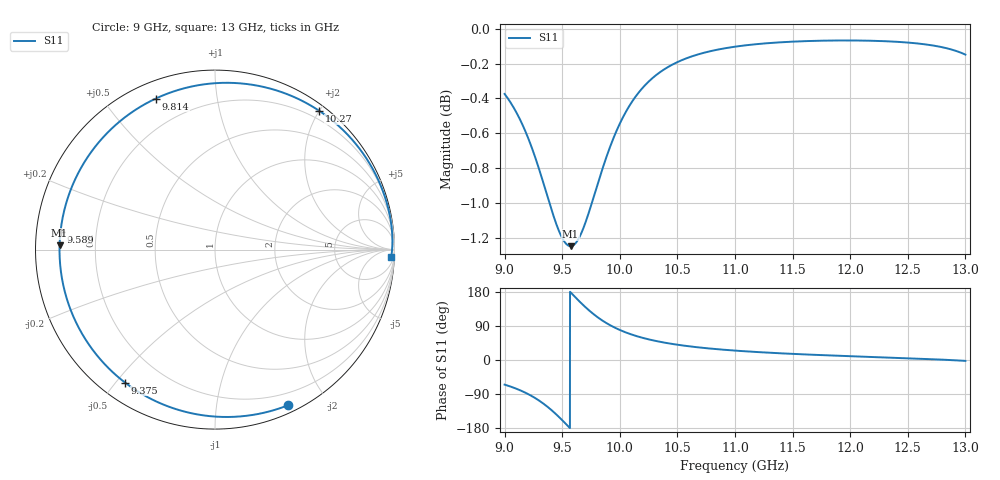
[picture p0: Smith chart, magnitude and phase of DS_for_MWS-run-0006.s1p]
! TOUCHSTONE file generated by CST DESIGN STUDIO
! Date and time: Wed Feb  5 13:45:13 2025
! Project name: C:\Work\MatlabApps\UnitCellOptimizationMatlab\CST\unitcell.cst
! Tree item: Tasks\Sweep1\SPara1\S-Parameters
! Header version: 2024
! Port assignment regex: !\s*Touchstone port\s*([0-9]+)\s*=\s*(CST MWS port|CST DES external port|CST DES block port)\s*(.+)\s* \(\"(.*)\"\)(\s*mode\s*([0-9]+))?.*
! Touchstone port assignment:
! Touchstone port 1 = CST DES external port 1 ("")
# GHz S MA R 50
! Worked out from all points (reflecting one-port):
!   4001 points, 9 GHz to 13 GHz, reference 50 ohm
!   lowest |S11| = -1.2 dB at 9.573 GHz (marker M1), VSWR 13.96, Z = 3.58 + j0.69 ohm
!   phase of S11 starts at -65 deg and turns -297 deg over the sweep
!   S11 on the Smith chart (normalised r, x): 9 GHz: 0.07, -1.57; 9.375 GHz: 0.07, -0.53; 9.589 GHz: 0.07, +0.06; 9.814 GHz: 0.07, +0.68; 10.27 GHz: 0.08, +2.00; 13 GHz: 18, -42
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9  0.9578 -65.0
9.043  0.9534 -69.2
9.11  0.9452 -76.8
9.225  0.9266 -93.3
9.304  0.9104 -108.1
9.375  0.8945 -124.1
9.436  0.8815 -140.1
9.5  0.871 -158.8
9.537  0.8675 -170.2
9.573  0.8663 178.4
9.589  0.8665 173.4
9.644  0.8708 156.3
9.707  0.8809 137.9
9.76  0.8919 124.0
9.814  0.9039 111.4
9.854  0.9126 103.1
9.898  0.9216 94.9
10  0.9393 79.2
10.126  0.9551 64.9
10.269  0.967 53.1
10.377  0.9731 46.4
10.5  0.9782 40.3
10.721  0.984 32.1
11  0.9882 24.8
11.5  0.9915 16.2
12  0.9922 10.0
12.5  0.9909 4.6
13  0.983 -2.3
